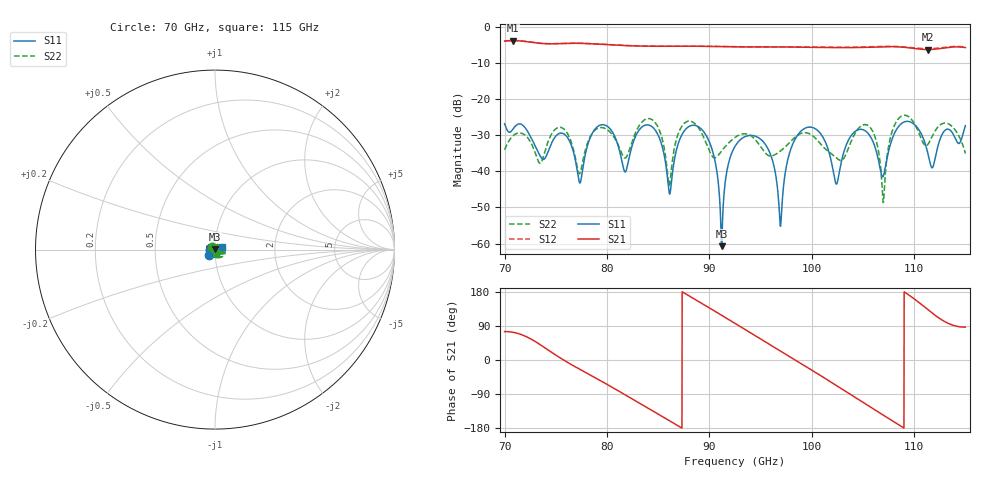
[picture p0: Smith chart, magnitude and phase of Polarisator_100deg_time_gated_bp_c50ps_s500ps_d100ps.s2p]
# Hz S RI R 1.000000
! Metas.Vna.Tools, 2.4.7898.19887
! Metas.Vna.Data, 2.4.7898.19873
! Created: UTC 2021.09.30 14:30:59
! FREQ  re:S1,1  im:S1,1  re:S2,1  im:S2,1  re:S1,2  im:S1,2  re:S2,2  im:S2,2
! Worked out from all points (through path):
!   2251 points, 70 GHz to 115 GHz, reference 1 ohm
!   highest |S21| = -3.88 dB at 70.82 GHz (marker M1); lowest = -6.4 dB at 111.3 GHz (marker M2)
!   lowest |S11| = -60.7 dB at 91.2 GHz (marker M3), VSWR 1.00, Z = 1 + j0.00179 ohm
!   |S11| at or under -10 dB: start of sweep to end of sweep
!   |S22| runs from -48.7 to -24.5 dB; largest |S21 - S12| = 0.075
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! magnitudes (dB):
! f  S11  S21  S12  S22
! 70 GHz  -26.8  -4.0  -4.0  -34.0
! 70.82 GHz  -28.3  -3.9  -3.8  -30.2
! 77.5 GHz  -41.8  -4.6  -4.6  -39.1
! 79.24 GHz  -27.4  -4.9  -4.9  -28.0
! 81.76 GHz  -40.2  -5.2  -5.2  -36.4
! 85 GHz  -30.1  -5.4  -5.4  -27.9
! 86.12 GHz  -46.3  -5.4  -5.4  -43.6
! 87.44 GHz  -29.3  -5.4  -5.4  -27.1
! 89.42 GHz  -29.0  -5.5  -5.4  -30.5
! 91.2 GHz  -60.7  -5.5  -5.5  -34.4
! 92.5 GHz  -33.1  -5.6  -5.6  -30.7
! 95.44 GHz  -32.5  -5.6  -5.6  -34.9
! 96.94 GHz  -55.2  -5.6  -5.6  -34.4
! 98.04 GHz  -33.2  -5.7  -5.6  -31.5
! 100 GHz  -27.9  -5.7  -5.7  -30.0
! 102.4 GHz  -43.5  -5.8  -5.7  -36.2
! 104.4 GHz  -28.7  -5.8  -5.7  -28.8
! 106 GHz  -31.9  -5.7  -5.6  -29.1
! 107 GHz  -41.5  -5.6  -5.5  -48.4
! 107.5 GHz  -34.5  -5.5  -5.5  -33.1
! 111.3 GHz  -34.9  -6.4  -6.1  -32.6
! 115 GHz  -27.4  -5.8  -5.6  -35.1
